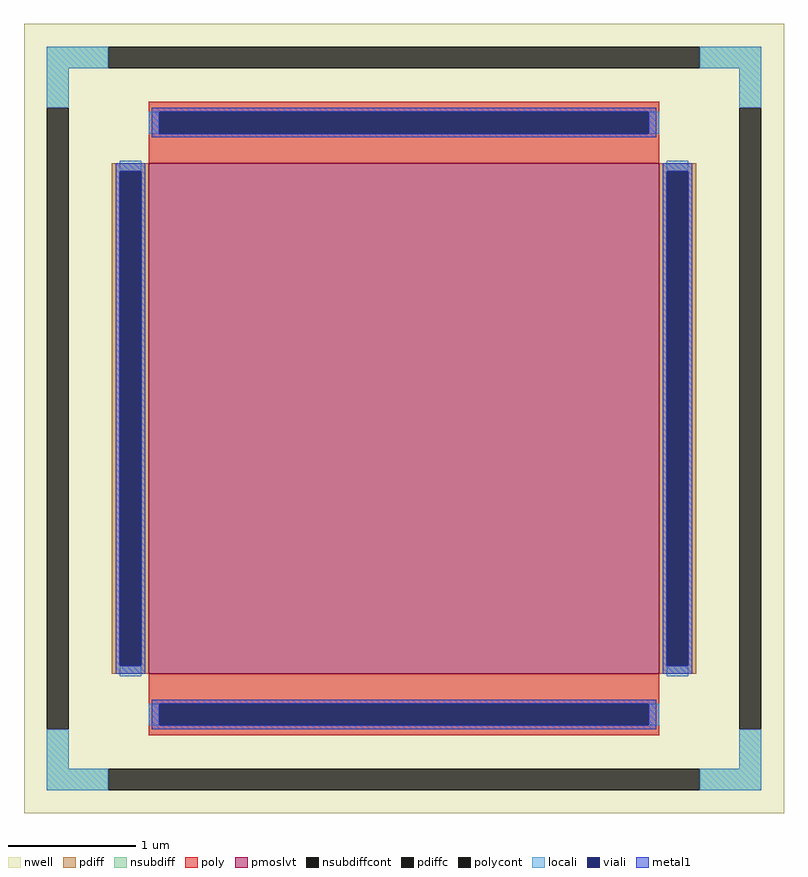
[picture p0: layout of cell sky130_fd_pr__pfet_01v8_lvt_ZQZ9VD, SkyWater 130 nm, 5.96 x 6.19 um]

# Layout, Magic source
magic
tech sky130A
magscale 1 2
<< nwell >>
rect -596 -619 596 619
<< pmoslvt >>
rect -400 -400 400 400
<< pdiff >>
rect -458 388 -400 400
rect -458 -388 -446 388
rect -412 -388 -400 388
rect -458 -400 -400 -388
rect 400 388 458 400
rect 400 -388 412 388
rect 446 -388 458 388
rect 400 -400 458 -388
<< pdiffc >>
rect -446 -388 -412 388
rect 412 -388 446 388
<< nsubdiff >>
rect -560 549 -464 583
rect 464 549 560 583
rect -560 487 -526 549
rect 526 487 560 549
rect -560 -549 -526 -487
rect 526 -549 560 -487
rect -560 -583 -464 -549
rect 464 -583 560 -549
<< nsubdiffcont >>
rect -464 549 464 583
rect -560 -487 -526 487
rect 526 -487 560 487
rect -464 -583 464 -549
<< poly >>
rect -400 481 400 497
rect -400 447 -384 481
rect 384 447 400 481
rect -400 400 400 447
rect -400 -447 400 -400
rect -400 -481 -384 -447
rect 384 -481 400 -447
rect -400 -497 400 -481
<< polycont >>
rect -384 447 384 481
rect -384 -481 384 -447
<< locali >>
rect -560 549 -464 583
rect 464 549 560 583
rect -560 487 -526 549
rect 526 487 560 549
rect -400 447 -384 481
rect 384 447 400 481
rect -446 388 -412 404
rect -446 -404 -412 -388
rect 412 388 446 404
rect 412 -404 446 -388
rect -400 -481 -384 -447
rect 384 -481 400 -447
rect -560 -549 -526 -487
rect 526 -549 560 -487
rect -560 -583 -464 -549
rect 464 -583 560 -549
<< viali >>
rect -384 447 384 481
rect -446 -388 -412 388
rect 412 -388 446 388
rect -384 -481 384 -447
<< metal1 >>
rect -396 481 396 487
rect -396 447 -384 481
rect 384 447 396 481
rect -396 441 396 447
rect -452 388 -406 400
rect -452 -388 -446 388
rect -412 -388 -406 388
rect -452 -400 -406 -388
rect 406 388 452 400
rect 406 -388 412 388
rect 446 -388 452 388
rect 406 -400 452 -388
rect -396 -447 396 -441
rect -396 -481 -384 -447
rect 384 -481 396 -447
rect -396 -487 396 -481
<< properties >>
string FIXED_BBOX -543 -566 543 566
string gencell sky130_fd_pr__pfet_01v8_lvt
string library sky130
string parameters w 4.0 l 4.0 m 1 nf 1 diffcov 100 polycov 100 guard 1 glc 1 grc 1 gtc 1 gbc 1 tbcov 100 rlcov 100 topc 1 botc 1 poverlap 0 doverlap 1 lmin 0.35 wmin 0.42 compatible {sky130_fd_pr__pfet_01v8  sky130_fd_pr__pfet_01v8_lvt sky130_fd_pr__pfet_01v8_hvt  sky130_fd_pr__pfet_g5v0d10v5} full_metal 1 viasrc 100 viadrn 100 viagate 100 viagb 0 viagr 0 viagl 0 viagt 0
<< end >>
